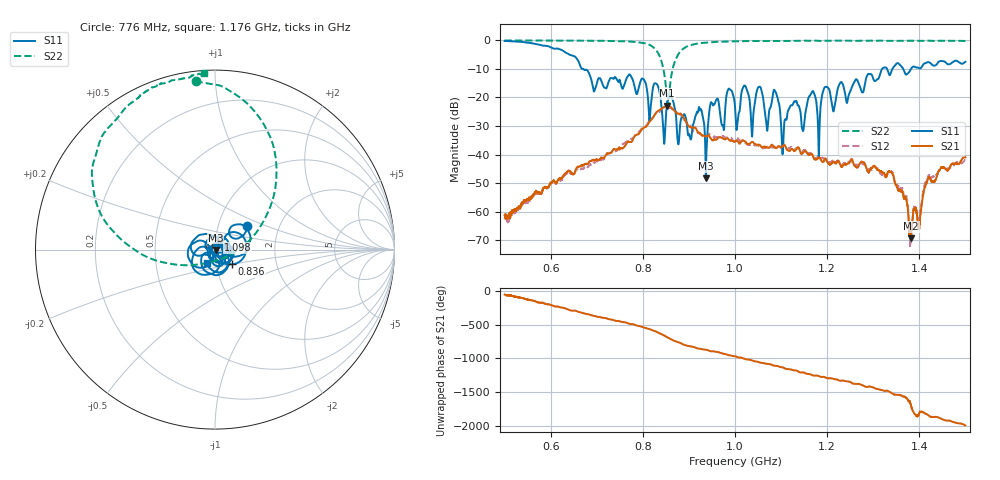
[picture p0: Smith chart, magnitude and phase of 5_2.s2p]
!Agilent Technologies,E8364B,US42250235,A.06.04.32
!Agilent E8364B: A.06.04.32
!Date: Thursday, October 01, 2020 14:31:28
!Correction: S11(Full 2 Port(1,2)) S21(Full 2 Port(1,2)) S12(Full 2 Port(1,2)) S22(Full 2 Port(1,2))
!S2P File: Measurements: S11, S21, S12, S22:
# Hz S  dB  R 50
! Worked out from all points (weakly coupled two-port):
!   2650 points, 500 MHz to 1.5 GHz, reference 50 ohm
!   highest |S21| = -22.85 dB at 853 MHz (marker M1); lowest = -69.4 dB at 1.382 GHz (marker M2)
!   lowest |S11| = -48.3 dB at 936.8 MHz (marker M3), VSWR 1.01, Z = 50.3 - j0.187 ohm
!   |S11| at or under -10 dB: 670 MHz to 1.319 GHz (649.3 MHz wide, 65.3 % of centre); 1.33 GHz to 1.342 GHz (11.79 MHz wide, 0.883 % of centre); 1.365 GHz to 1.382 GHz (17.1 MHz wide, 1.25 % of centre) (the widest 3 of 4)
!   |S22| runs from -24.4 to -0.1 dB; largest |S21 - S12| = 0.029
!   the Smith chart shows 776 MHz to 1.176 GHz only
!   S11 on the Smith chart (normalised r, x): 776 MHz: 1.37, +0.39; 836 MHz: 1.19, -0.20; 1.098 GHz: 1.03, +0.11; 1.176 GHz: 0.90, -0.13
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5e8  -0.22 -175.1  -61.14 -51.5  -62.42 -58.0  -0.08 138.2
5.962627e8  -2.17 122.9  -51.04 162.2  -51.41 152.5  -0.11 128.0
6.668554e8  -9.86 62.8  -43.67 39.7  -44.99 23.8  -0.14 121.3
7.759532e8  -13.05 36.9  -35.53 -129.9  -34.48 -155.9  -0.48 96.5
8.337108e8  -16.48 -27.8  -24.64 101.8  -25.15 75.9  -4.66 54.3
8.359758e8  -18.02 -40.2  -24.41 93.9  -25.10 69.6  -5.40 50.4
8.454134e8  -34.47 -42.8  -23.43 63.6  -23.60 41.2  -10.77 27.7
8.529634e8  -21.96 21.4  -22.85 35.3  -23.43 12.7  -22.31 -29.5
8.797659e8  -32.09 66.2  -25.72 -44.8  -25.97 -69.0  -4.23 166.9
9.239336e8  -24.57 -23.5  -32.50 -135.9  -32.66 -149.4  -1.00 135.0
9.367686e8  -48.28 -28.9  -33.69 -150.6  -33.68 -164.5  -0.86 129.1
9.499811e8  -22.00 -33.1  -34.91 -173.5  -33.49 171.7  -0.68 124.1
1.000189e9  -23.60 -158.9  -35.54 112.1  -35.20 95.4  -0.37 115.0
1.052661e9  -16.24 -161.4  -36.62 23.5  -37.10 7.7  -0.25 109.5
1.097961e9  -25.06 72.6  -37.25 -45.8  -37.57 -54.9  -0.24 104.2
1.148169e9  -31.67 141.3  -39.32 -126.9  -38.70 -136.9  -0.16 95.4
1.166667e9  -18.27 -61.7  -39.79 -164.2  -39.79 -174.7  -0.17 93.6
1.176104e9  -21.16 -122.1  -41.71 -172.9  -41.31 179.1  -0.14 93.5
1.333522e9  -11.66 -158.1  -45.89 -47.8  -45.94 -48.5  -0.18 78.0
1.38222e9  -9.95 -166.8  -69.39 90.0  -68.06 67.5  -0.20 73.2
1.419215e9  -7.64 171.0  -48.22 -39.0  -47.50 -40.6  -0.14 70.7
1.5e9  -7.54 143.1  -40.98 166.4  -41.89 175.4  -0.25 62.6
